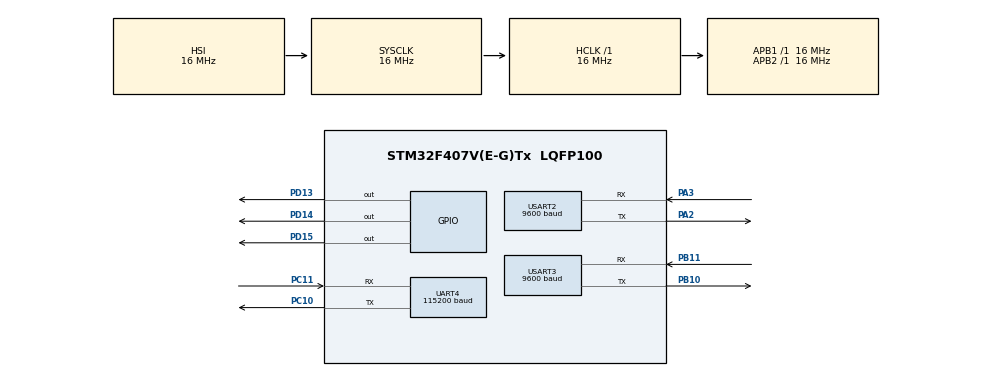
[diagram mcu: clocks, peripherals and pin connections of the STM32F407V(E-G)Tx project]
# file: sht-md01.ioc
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Mcu.Family=STM32F4
Mcu.Name=STM32F407V(E-G)Tx
Mcu.Package=LQFP100
NVIC.PriorityGroup=NVIC_PRIORITYGROUP_4
NVIC.TIM6_DAC_IRQn=true\:0\:0\:false\:false\:true\:true\:true\:true
PA13.Mode=Serial_Wire
PA13.Signal=SYS_JTMS-SWDIO
PA14.Mode=Serial_Wire
PA14.Signal=SYS_JTCK-SWCLK
PA2.Mode=Asynchronous
PA2.Signal=USART2_TX
PA3.Mode=Asynchronous
PA3.Signal=USART2_RX
PB10.Mode=Asynchronous
PB10.Signal=USART3_TX
PB11.Mode=Asynchronous
PB11.Signal=USART3_RX
PC10.Mode=Asynchronous
PC10.Signal=UART4_TX
PC11.Mode=Asynchronous
PC11.Signal=UART4_RX
PD13.Signal=GPIO_Output
PD14.Signal=GPIO_Output
PD15.Signal=GPIO_Output
ProjectManager.HeapSize=0x200
ProjectManager.StackSize=0x400
ProjectManager.TargetToolchain=MDK-ARM V5.32
RCC.AHBFreq_Value=16000000
RCC.APB1Freq_Value=16000000
RCC.APB1TimFreq_Value=16000000
RCC.APB2Freq_Value=16000000
RCC.APB2TimFreq_Value=16000000
RCC.CortexFreq_Value=16000000
RCC.HCLKFreq_Value=16000000
RCC.HSE_VALUE=8000000
RCC.HSI_VALUE=16000000
RCC.LSE_VALUE=32768
RCC.SYSCLKFreq_VALUE=16000000
RCC.VCOOutputFreq_Value=192000000
TIM6.Period=4999
TIM6.Prescaler=15999
UART4.BaudRate=115200
UART4.VirtualMode=Asynchronous
USART2.BaudRate=9600
USART2.VirtualMode=VM_ASYNC
USART3.BaudRate=9600
USART3.VirtualMode=VM_ASYNC
VP_TIM6_VS_ClockSourceINT.Mode=Enable_Timer
board=custom

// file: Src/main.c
/* USER CODE BEGIN Header */
/**
  ******************************************************************************
  * @file           : main.c
  * @brief          : Smart Energy Monitor - STM32F407VGT6
  *
  * USART2 : Modbus RS485 sensors, 9600 8N1
  * USART3 : Diagnostic terminal, 9600 8N1
  * UART4  : JSON telemetry to Raspberry Pi, 115200 8N1
  *
  * IMPORTANT:
  * UART4 TX status OK means HAL_UART_Transmit completed successfully.
  * It does NOT prove that the Raspberry Pi received or parsed the frame.
  ******************************************************************************
  */
/* USER CODE END Header */
#include "main.h"

/* USER CODE BEGIN Includes */
#include "ModbusRS485.h"
#include "MPR47S.h"
#include "EEM375.h"
#include "sht20.h"

#include <stdio.h>
#include <string.h>
#include <stdarg.h>
#include <stdint.h>
/* USER CODE END Includes */

/* USER CODE BEGIN PD */
#define TXBUF_SIZE       2048U
#define SHT_COUNT        2U
#define MPR_COUNT        1U
#define UART4_TX_TIMEOUT 1000U
#define UART3_TX_TIMEOUT 1000U
/* USER CODE END PD */

TIM_HandleTypeDef htim6;

UART_HandleTypeDef huart4;
UART_HandleTypeDef huart2;
UART_HandleTypeDef huart3;

/* USER CODE BEGIN PV */
static char txbuf[TXBUF_SIZE];
static char framebuf[TXBUF_SIZE];

static uint32_t telemetry_seq = 0U;

MPR47S_t mpr[MPR_COUNT];
uint8_t mpr_id[MPR_COUNT] = {5U};
uint8_t mpr_alive[MPR_COUNT] = {0U};

SHT20_t sht[SHT_COUNT];
uint8_t sht_id[SHT_COUNT] = {1U, 3U};
uint8_t sht_alive[SHT_COUNT] = {0U};
/* USER CODE END PV */

void SystemClock_Config(void);
static void MX_GPIO_Init(void);
static void MX_USART2_UART_Init(void);
static void MX_USART3_UART_Init(void);
static void MX_UART4_Init(void);
static void MX_TIM6_Init(void);
/* USER CODE BEGIN PFP */
static void UART_VPrintf(UART_HandleTypeDef *uart,
                         const char *fmt,
                         va_list args);
void UART_Printf(const char *fmt, ...);
static void Frame_Printf(const char *fmt, ...);

static void Raspberry_SendBootFrame(void);
static void Raspberry_SendErrorFrame(const char *sensor, uint8_t id);
static void Raspberry_SendSHTFrame(const SHT20_t *sensor, uint8_t read_ok);
static void Raspberry_SendMPRFrame(const MPR47S_t *sensor, uint8_t read_ok);

static void LED_On(uint16_t pin);
static void LED_Off(uint16_t pin);
static void LED_Blink(uint16_t pin, uint8_t n, uint16_t delay_ms);

static uint8_t Modbus_Ping(uint8_t addr);
static void Sensors_Init(void);
static void Bus_Test_SHT(void);
static void Bus_Test_MPR(void);
static void SHT_ReadAll(void);
static void MPR_ReadAll(void);
/* USER CODE END PFP */

/* USER CODE BEGIN 0 */

/* ================= UART PRINTF ON USART3 ================= */

static void UART_VPrintf(UART_HandleTypeDef *uart,
                         const char *fmt,
                         va_list args)
{
    int len = vsnprintf(txbuf, sizeof(txbuf), fmt, args);

    if ((len < 0) || (len >= (int)sizeof(txbuf)))
    {
        return;
    }

    if (len > 0)
    {
        (void)HAL_UART_Transmit(uart,
                                (uint8_t *)txbuf,
                                (uint16_t)len,
                                UART3_TX_TIMEOUT);
    }
}

void UART_Printf(const char *fmt, ...)
{
    va_list args;

    va_start(args, fmt);
    UART_VPrintf(&huart3, fmt, args);
    va_end(args);
}

/* ================= UART4 TX + COMPLETE USART3 TRACE ================= */

/*
 * Formats a JSON frame once, prints those exact bytes on USART3,
 * then transmits those same bytes on UART4.
 * JSON telemetry functions must call this function.
 */
static void Frame_Printf(const char *fmt, ...)
{
    va_list args;
    int len;

    va_start(args, fmt);
    len = vsnprintf(framebuf, sizeof(framebuf), fmt, args);
    va_end(args);

    if ((len < 0) || (len >= (int)sizeof(framebuf)))
    {
        UART_Printf("\r\n========== UART4 TX ==========\r\n");
        UART_Printf("UART4 TX STATUS: NOK - JSON buffer overflow\r\n");
        UART_Printf("==============================\r\n");
        return;
    }

    UART_Printf("\r\n========== UART4 TX ==========\r\n");
    UART_Printf("Length: %d bytes\r\n", len);
    UART_Printf("COMPLETE FRAME:\r\n");

    /* Print the exact frame bytes, including its final LF if present. */
    if (len > 0)
    {
        (void)HAL_UART_Transmit(&huart3,
                                (uint8_t *)framebuf,
                                (uint16_t)len,
                                UART3_TX_TIMEOUT);
    }

    /* Ensure the diagnostic status starts on a new terminal line. */
    if ((len == 0) || (framebuf[len - 1] != '\n'))
    {
        UART_Printf("\r\n");
    }

    /* Send the same frame bytes to the Raspberry Pi. */
    HAL_StatusTypeDef status =
        HAL_UART_Transmit(&huart4,
                          (uint8_t *)framebuf,
                          (uint16_t)len,
                          UART4_TX_TIMEOUT);

    if (status == HAL_OK)
    {
        UART_Printf("UART4 TX STATUS: OK (HAL transmit complete)\r\n");
    }
    else
    {
        UART_Printf("UART4 TX STATUS: NOK (HAL status=%d)\r\n",
                    (int)status);
    }

    UART_Printf("==============================\r\n");
}

/* ================= JSON BOOT / ERROR FRAMES ================= */

static void Raspberry_SendBootFrame(void)
{
    Frame_Printf("{\"v\":1,\"event\":\"boot\"}\n");
}

static void Raspberry_SendErrorFrame(const char *sensor, uint8_t id)
{
    Frame_Printf(
        "{\"v\":1,\"sensor\":\"%s\",\"id\":%u,"
        "\"seq\":%lu,\"uptime_ms\":%lu,"
        "\"status\":\"error\","
        "\"error\":\"acquisition_failed\",\"data\":null}\n",
        sensor,
        (unsigned int)id,
        (unsigned long)telemetry_seq++,
        (unsigned long)HAL_GetTick());
}

/* ================= JSON SHT20 FRAME ================= */

static void Raspberry_SendSHTFrame(const SHT20_t *sensor,
                                   uint8_t read_ok)
{
    if (read_ok == 0U)
    {
        Raspberry_SendErrorFrame("sht20", sensor->addr);
        return;
    }

    Frame_Printf(
        "{\"v\":1,\"sensor\":\"sht20\",\"id\":%u,"
        "\"seq\":%lu,\"uptime_ms\":%lu,"
        "\"status\":\"ok\",\"error\":\"\","
        "\"data\":{\"temperature_c\":%.1f,"
        "\"humidity_pct\":%.1f}}\n",
        (unsigned int)sensor->addr,
        (unsigned long)telemetry_seq++,
        (unsigned long)HAL_GetTick(),
        (double)sensor->temp,
        (double)sensor->hum);
}

/* ================= JSON MPR47S FRAME ================= */

static void Raspberry_SendMPRFrame(const MPR47S_t *m,
                                   uint8_t read_ok)
{
    if (read_ok == 0U)
    {
        Raspberry_SendErrorFrame("mpr47s", m->id);
        return;
    }

    Frame_Printf(
        "{\"v\":1,\"sensor\":\"mpr47s\",\"id\":%u,"
        "\"seq\":%lu,\"uptime_ms\":%lu,"
        "\"status\":\"ok\",\"error\":\"\","
        "\"data\":{"
        "\"voltage_v\":[%.1f,%.1f,%.1f,%.1f],"
        "\"line_voltage_v\":[%.1f,%.1f,%.1f],"
        "\"current_a\":[%.3f,%.3f,%.3f,%.3f],"
        "\"active_power_w\":[%.3f,%.3f,%.3f,%.3f],"
        "\"reactive_power_var\":[%.3f,%.3f,%.3f,%.3f],"
        "\"apparent_power_va\":[%.3f,%.3f,%.3f,%.3f],"
        "\"power_factor\":[%.3f,%.3f,%.3f],"
        "\"frequency_hz\":%.2f}}\n",
        (unsigned int)m->id,
        (unsigned long)telemetry_seq++,
        (unsigned long)HAL_GetTick(),
        (double)m->V1, (double)m->V2,
        (double)m->V3, (double)m->V4,
        (double)m->VL12, (double)m->VL23, (double)m->VL31,
        (double)m->I1, (double)m->I2,
        (double)m->I3, (double)m->IN,
        (double)m->P1, (double)m->P2,
        (double)m->P3, (double)m->P_Total,
        (double)m->Q1, (double)m->Q2,
        (double)m->Q3, (double)m->Q_Total,
        (double)m->S1, (double)m->S2,
        (double)m->S3, (double)m->S_Total,
        (double)m->PF1, (double)m->PF2,
        (double)m->PF3, (double)m->Freq);
}

/* ================= LED CONTROL ================= */

#define LED_PORT     GPIOD
#define LED_SHT_PIN  GPIO_PIN_13
#define LED_MPR_PIN  GPIO_PIN_14

static void LED_On(uint16_t pin)
{
    HAL_GPIO_WritePin(LED_PORT, pin, GPIO_PIN_SET);
}

static void LED_Off(uint16_t pin)
{
    HAL_GPIO_WritePin(LED_PORT, pin, GPIO_PIN_RESET);
}

static void LED_Blink(uint16_t pin, uint8_t n, uint16_t delay_ms)
{
    uint8_t i;

    for (i = 0U; i < n; i++)
    {
        LED_On(pin);
        HAL_Delay(delay_ms);
        LED_Off(pin);
        HAL_Delay(delay_ms);
    }
}

/* ================= MODBUS PING ================= */

static uint8_t Modbus_Ping(uint8_t addr)
{
    uint16_t dummy = 0U;

    if (Modbus_ReadHoldingRegisters(addr, 0x0001U,
                                    1U, &dummy) == MODBUS_OK)
    {
        return 1U;
    }

    if (Modbus_ReadInputRegisters(addr, 0x0001U,
                                  1U, &dummy) == MODBUS_OK)
    {
        return 1U;
    }

    return 0U;
}

/* ================= SENSOR INITIALIZATION ================= */

static void Sensors_Init(void)
{
    uint32_t i;

    for (i = 0U; i < MPR_COUNT; i++)
    {
        mpr[i].id = mpr_id[i];
        mpr_alive[i] = 0U;
    }

    for (i = 0U; i < SHT_COUNT; i++)
    {
        sht[i].addr = sht_id[i];
        sht_alive[i] = 0U;
    }
}

/* ================= OPTIONAL MODBUS BUS TESTS ================= */
/* Call these from main() only if you want to test sensor addresses. */

static void Bus_Test_SHT(void)
{
    uint32_t i;

    UART_Printf("\r\n===== SHT BUS TEST =====\r\n");

    for (i = 0U; i < SHT_COUNT; i++)
    {
        UART_Printf("SHT %u -> ", (unsigned int)sht_id[i]);
        sht_alive[i] = Modbus_Ping(sht_id[i]);
        UART_Printf("%s\r\n", sht_alive[i] ? "OK" : "FAIL");
        HAL_Delay(200U);
    }

    UART_Printf("===== SHT TEST END =====\r\n");
}

static void Bus_Test_MPR(void)
{
    uint32_t i;

    UART_Printf("\r\n===== MPR BUS TEST =====\r\n");

    for (i = 0U; i < MPR_COUNT; i++)
    {
        UART_Printf("MPR %u -> ", (unsigned int)mpr_id[i]);
        mpr_alive[i] = Modbus_Ping(mpr_id[i]);
        UART_Printf("%s\r\n", mpr_alive[i] ? "OK" : "FAIL");
        HAL_Delay(200U);
    }

    UART_Printf("===== MPR TEST END =====\r\n");
}

/* ================= SENSOR ACQUISITION ================= */

static void SHT_ReadAll(void)
{
    uint32_t i;

    for (i = 0U; i < SHT_COUNT; i++)
    {
        uint8_t read_ok = SHT20_Read(&sht[i]);

        sht_alive[i] = read_ok;
        Raspberry_SendSHTFrame(&sht[i], read_ok);

        if (read_ok != 0U)
        {
            LED_Blink(LED_SHT_PIN, 1U, 50U);
        }
        else
        {
            LED_Blink(LED_SHT_PIN, 2U, 150U);
        }

        /* Give the shared RS485 bus time between sensor transactions. */
        HAL_Delay(1000U);
    }
}

static void MPR_ReadAll(void)
{
    uint32_t i;

    for (i = 0U; i < MPR_COUNT; i++)
    {
        uint8_t read_ok = MPR47S_Read(&mpr[i]);

        mpr_alive[i] = read_ok;
        Raspberry_SendMPRFrame(&mpr[i], read_ok);

        if (read_ok != 0U)
        {
            LED_Blink(LED_MPR_PIN, 1U, 50U);
        }
        else
        {
            LED_Blink(LED_MPR_PIN, 2U, 150U);
        }

        HAL_Delay(500U);
    }
}

/* USER CODE END 0 */

int main(void)
{

  /* MCU Configuration--------------------------------------------------------*/

  /* Reset of all peripherals, Initializes the Flash interface and the Systick. */
  HAL_Init();

  /* Configure the system clock */
  SystemClock_Config();

  /* Initialize all configured peripherals */
  MX_GPIO_Init();
  MX_USART2_UART_Init();
  MX_USART3_UART_Init();
  MX_UART4_Init();
  MX_TIM6_Init();
  /* USER CODE BEGIN 2 */

  Modbus_Init(&huart2);
  Sensors_Init();

  UART_Printf("\r\n");
  UART_Printf("========================================\r\n");
  UART_Printf(" SMART ENERGY MONITOR - STM32F407\r\n");
  UART_Printf(" USART2: Modbus RS485, 9600 8N1\r\n");
  UART_Printf(" USART3: Diagnostic terminal, 9600 8N1\r\n");
  UART_Printf(" UART4 : Raspberry Pi, 115200 8N1\r\n");
  UART_Printf("========================================\r\n");

  /* Sends a boot JSON frame and displays it on USART3. */
  Raspberry_SendBootFrame();

  /*
   * Optional address scan. Enable these calls only if the registers
   * used by Modbus_Ping() are valid for your specific devices.
   */
  /* Bus_Test_SHT(); */
  /* Bus_Test_MPR(); */

  HAL_Delay(1000U);

  /* USER CODE END 2 */

  /* Infinite loop */
  /* USER CODE BEGIN WHILE */
  while (1)
  {
      SHT_ReadAll();
      HAL_Delay(2000U);

      MPR_ReadAll();
      HAL_Delay(3000U);
  }
    /* USER CODE END WHILE */

  }

void SystemClock_Config(void)
{
  RCC_OscInitTypeDef RCC_OscInitStruct = {0};
  RCC_ClkInitTypeDef RCC_ClkInitStruct = {0};

  /** Configure the main internal regulator output voltage
  */
  __HAL_RCC_PWR_CLK_ENABLE();
  __HAL_PWR_VOLTAGESCALING_CONFIG(PWR_REGULATOR_VOLTAGE_SCALE1);

  /** Initializes the RCC Oscillators according to the specified parameters
  * in the RCC_OscInitTypeDef structure.
  */
  RCC_OscInitStruct.OscillatorType = RCC_OSCILLATORTYPE_HSI;
  RCC_OscInitStruct.HSIState = RCC_HSI_ON;
  RCC_OscInitStruct.HSICalibrationValue = RCC_HSICALIBRATION_DEFAULT;
  RCC_OscInitStruct.PLL.PLLState = RCC_PLL_NONE;
  if (HAL_RCC_OscConfig(&RCC_OscInitStruct) != HAL_OK)
  {
    Error_Handler();
  }

  /** Initializes the CPU, AHB and APB buses clocks
  */
  RCC_ClkInitStruct.ClockType = RCC_CLOCKTYPE_HCLK|RCC_CLOCKTYPE_SYSCLK
                              |RCC_CLOCKTYPE_PCLK1|RCC_CLOCKTYPE_PCLK2;
  RCC_ClkInitStruct.SYSCLKSource = RCC_SYSCLKSOURCE_HSI;
  RCC_ClkInitStruct.AHBCLKDivider = RCC_SYSCLK_DIV1;
  RCC_ClkInitStruct.APB1CLKDivider = RCC_HCLK_DIV1;
  RCC_ClkInitStruct.APB2CLKDivider = RCC_HCLK_DIV1;

  if (HAL_RCC_ClockConfig(&RCC_ClkInitStruct, FLASH_LATENCY_0) != HAL_OK)
  {
    Error_Handler();
  }
}

static void MX_TIM6_Init(void)
{

  TIM_MasterConfigTypeDef sMasterConfig = {0};

  htim6.Instance = TIM6;
  htim6.Init.Prescaler = 15999;
  htim6.Init.CounterMode = TIM_COUNTERMODE_UP;
  htim6.Init.Period = 4999;
  htim6.Init.AutoReloadPreload = TIM_AUTORELOAD_PRELOAD_DISABLE;
  if (HAL_TIM_Base_Init(&htim6) != HAL_OK)
  {
    Error_Handler();
  }
  sMasterConfig.MasterOutputTrigger = TIM_TRGO_RESET;
  sMasterConfig.MasterSlaveMode = TIM_MASTERSLAVEMODE_DISABLE;
  if (HAL_TIMEx_MasterConfigSynchronization(&htim6, &sMasterConfig) != HAL_OK)
  {
    Error_Handler();
  }

}

static void MX_UART4_Init(void)
{

  huart4.Instance = UART4;
  huart4.Init.BaudRate = 115200;
  huart4.Init.WordLength = UART_WORDLENGTH_8B;
  huart4.Init.StopBits = UART_STOPBITS_1;
  huart4.Init.Parity = UART_PARITY_NONE;
  huart4.Init.Mode = UART_MODE_TX_RX;
  huart4.Init.HwFlowCtl = UART_HWCONTROL_NONE;
  huart4.Init.OverSampling = UART_OVERSAMPLING_16;
  if (HAL_UART_Init(&huart4) != HAL_OK)
  {
    Error_Handler();
  }

}

static void MX_USART2_UART_Init(void)
{

  huart2.Instance = USART2;
  huart2.Init.BaudRate = 9600;
  huart2.Init.WordLength = UART_WORDLENGTH_8B;
  huart2.Init.StopBits = UART_STOPBITS_1;
  huart2.Init.Parity = UART_PARITY_NONE;
  huart2.Init.Mode = UART_MODE_TX_RX;
  huart2.Init.HwFlowCtl = UART_HWCONTROL_NONE;
  huart2.Init.OverSampling = UART_OVERSAMPLING_16;
  if (HAL_UART_Init(&huart2) != HAL_OK)
  {
    Error_Handler();
  }

}

static void MX_USART3_UART_Init(void)
{

  huart3.Instance = USART3;
  huart3.Init.BaudRate = 9600;
  huart3.Init.WordLength = UART_WORDLENGTH_8B;
  huart3.Init.StopBits = UART_STOPBITS_1;
  huart3.Init.Parity = UART_PARITY_NONE;
  huart3.Init.Mode = UART_MODE_TX_RX;
  huart3.Init.HwFlowCtl = UART_HWCONTROL_NONE;
  huart3.Init.OverSampling = UART_OVERSAMPLING_16;
  if (HAL_UART_Init(&huart3) != HAL_OK)
  {
    Error_Handler();
  }

}

static void MX_GPIO_Init(void)
{
  GPIO_InitTypeDef GPIO_InitStruct = {0};

  /* GPIO Ports Clock Enable */
  __HAL_RCC_GPIOA_CLK_ENABLE();
  __HAL_RCC_GPIOB_CLK_ENABLE();
  __HAL_RCC_GPIOD_CLK_ENABLE();
  __HAL_RCC_GPIOC_CLK_ENABLE();

  /*Configure GPIO pin Output Level */
  HAL_GPIO_WritePin(GPIOD, GPIO_PIN_13|GPIO_PIN_14|GPIO_PIN_15, GPIO_PIN_RESET);

  /*Configure GPIO pins : PD13 PD14 PD15 */
  GPIO_InitStruct.Pin = GPIO_PIN_13|GPIO_PIN_14|GPIO_PIN_15;
  GPIO_InitStruct.Mode = GPIO_MODE_OUTPUT_PP;
  GPIO_InitStruct.Pull = GPIO_NOPULL;
  GPIO_InitStruct.Speed = GPIO_SPEED_FREQ_LOW;
  HAL_GPIO_Init(GPIOD, &GPIO_InitStruct);

}

/* USER CODE BEGIN 4 */
/* Add project-specific callbacks here if required. */
/* USER CODE END 4 */

void Error_Handler(void)
{
  __disable_irq();
  while (1)
  {
  }
}
